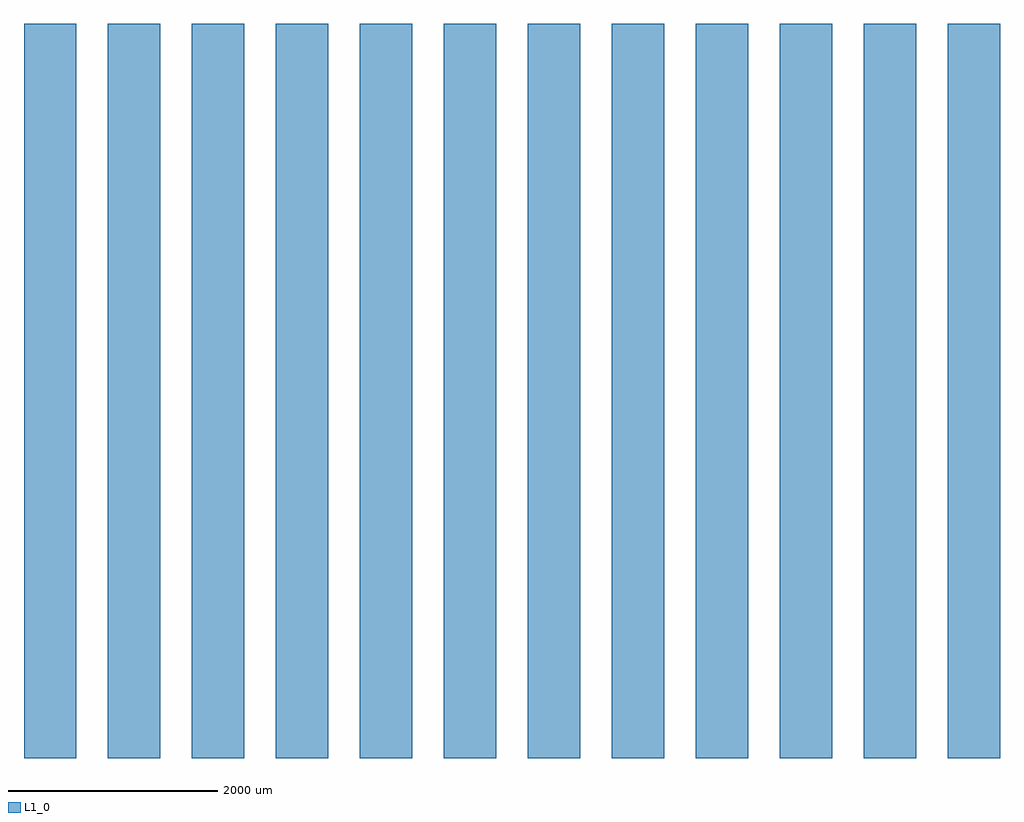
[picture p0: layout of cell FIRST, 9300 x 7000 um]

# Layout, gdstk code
import gdstk
lib = gdstk.Library(unit=1e-6, precision=1e-09)
def R(c, l, rs):  # rectangles x0, y0, x1, y1
    for r in rs: c.add(gdstk.rectangle(r[:2], r[2:], *l))
def A(c, l, x, y, w, h, nx, ny, dx, dy):  # array of equal rectangles
    R(c, l, [(x+i*dx, y+j*dy, x+i*dx+w, y+j*dy+h) for i in range(nx) for j in range(ny)])
L1_0 = (1, 0)

first = lib.new_cell('FIRST')
A(first, L1_0, -4650, -3500, 500, 7000, 12, 1, 800, 0)

lib.write_gds('FIRST.gds')
